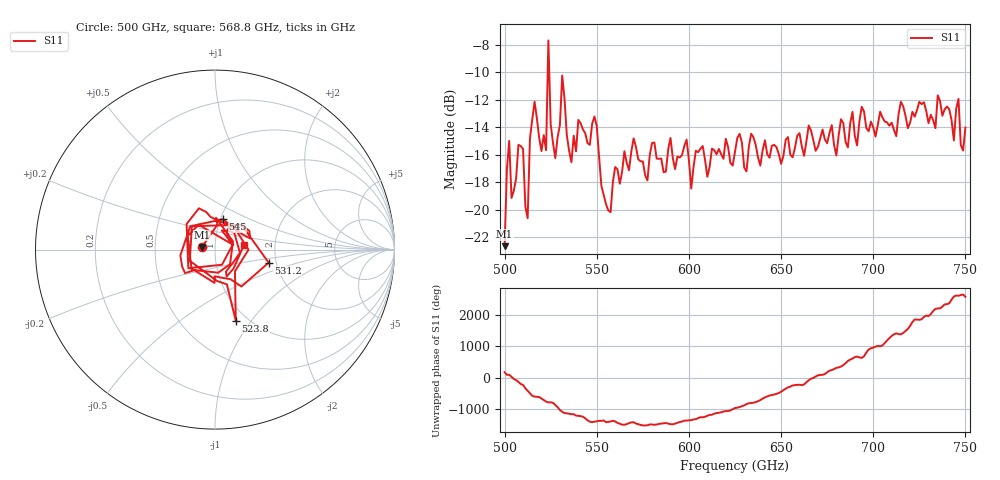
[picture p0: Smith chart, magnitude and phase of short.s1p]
!Created with mwavepy.
# GHz S RI R 50.0
!freq	ReS11	ImS11
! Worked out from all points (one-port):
!   201 points, 500 GHz to 750 GHz, reference 50 ohm
!   lowest |S11| = -22.7 dB at 500 GHz (marker M1), VSWR 1.16, Z = 43.3 + j1.24 ohm
!   |S11| at or under -10 dB: start of sweep to 523.4 GHz; 524.2 GHz to end of sweep
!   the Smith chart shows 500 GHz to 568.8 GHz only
!   S11 on the Smith chart (normalised r, x): 500 GHz: 0.87, +0.02; 523.8 GHz: 0.88, -0.84; 531.2 GHz: 1.82, -0.29; 545 GHz: 1.03, +0.36; 568.8 GHz: 1.38, +0.07
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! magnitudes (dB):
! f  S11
! 500 GHz  -22.7
! 502.5 GHz  -15.0
! 503.8 GHz  -19.2
! 510 GHz  -15.6
! 512.5 GHz  -20.6
! 513.8 GHz  -14.8
! 516.2 GHz  -12.1
! 522.5 GHz  -15.7
! 523.8 GHz  -7.7
! 525 GHz  -13.8
! 527.5 GHz  -16.3
! 531.2 GHz  -10.2
! 536.2 GHz  -16.6
! 540 GHz  -13.5
! 545 GHz  -15.2
! 548.8 GHz  -13.2
! 556.2 GHz  -20.1
! 562.5 GHz  -18.1
! 568.8 GHz  -15.8
! 593.8 GHz  -16.2
! 598.8 GHz  -14.9
! 601.2 GHz  -18.5
! 603.8 GHz  -15.7
! 625 GHz  -15.8
! 656.2 GHz  -16.2
! 687.5 GHz  -13.7
! 718.8 GHz  -14.1
! 750 GHz  -14.0
